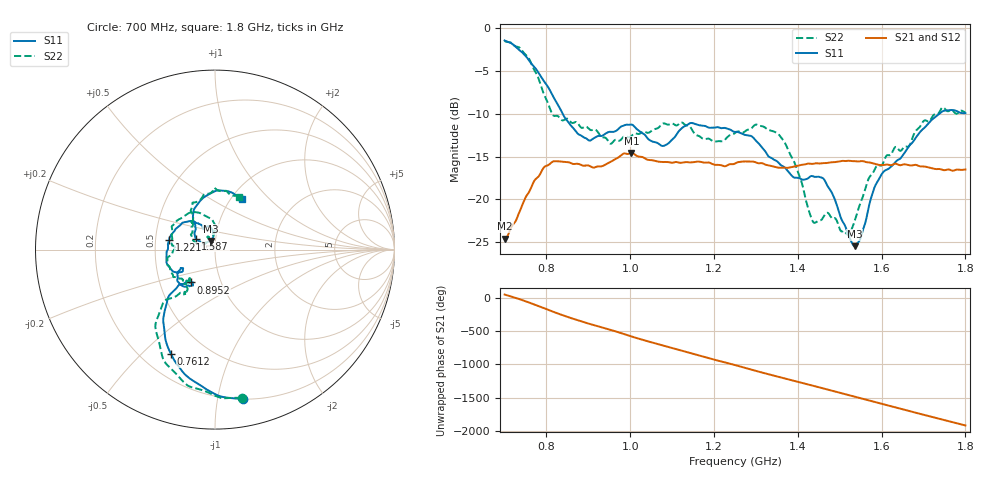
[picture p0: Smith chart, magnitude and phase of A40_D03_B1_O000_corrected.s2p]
! Created with skrf 1.9.0 (http://scikit-rf.org).
# Hz S RI R 50.0
!freq ReS11 ImS11 ReS21 ImS21 ReS12 ImS12 ReS22 ImS22
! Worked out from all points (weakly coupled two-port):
!   1601 points, 700 MHz to 1.8 GHz, reference 50 ohm
!   highest |S21| = -14.58 dB at 1.002 GHz (marker M1); lowest = -24.6 dB at 701.4 MHz (marker M2)
!   lowest |S11| = -25.5 dB at 1.535 GHz (marker M3), VSWR 1.11, Z = 47.6 + j4.61 ohm
!   |S11| at or under -10 dB: 838.6 MHz to 1.737 GHz (898.8 MHz wide, 69.8 % of centre)
!   |S22| runs from -24.2 to -1.5 dB; largest |S21 - S12| = 0.0035
!   S11 on the Smith chart (normalised r, x): 700 MHz: 0.20, -1.19; 761.2 MHz: 0.32, -0.62; 895.2 MHz: 0.72, -0.28; 1.221 GHz: 0.59, +0.07; 1.587 GHz: 0.80, +0.10; 1.8 GHz: 1.13, +0.70
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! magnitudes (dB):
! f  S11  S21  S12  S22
! 700 MHz  -1.4  -24.6  -24.3  -1.5
! 701.4 MHz  -1.5  -24.6  -24.2  -1.5
! 761.2 MHz  -4.0  -18.9  -18.8  -3.8
! 814.8 MHz  -7.9  -15.6  -15.7  -10.1
! 883.6 MHz  -12.6  -16.0  -15.9  -11.6
! 895.2 MHz  -12.9  -16.0  -16.1  -11.5
! 953 MHz  -12.1  -15.6  -15.6  -13.5
! 1.002 GHz  -11.2  -14.6  -14.7  -12.6
! 1.067 GHz  -13.5  -15.6  -15.5  -11.6
! 1.143 GHz  -11.1  -15.7  -15.7  -11.6
! 1.221 GHz  -11.7  -16.1  -16.1  -13.2
! 1.25 GHz  -12.1  -15.8  -15.7  -12.2
! 1.357 GHz  -15.9  -16.3  -16.3  -12.6
! 1.396 GHz  -17.5  -16.1  -16.1  -16.2
! 1.434 GHz  -17.3  -15.8  -15.8  -22.4
! 1.465 GHz  -17.9  -15.8  -15.7  -21.7
! 1.519 GHz  -23.9  -15.5  -15.5  -24.1
! 1.535 GHz  -25.5  -15.5  -15.5  -22.6
! 1.587 GHz  -18.2  -15.9  -15.9  -16.2
! 1.617 GHz  -16.4  -16.0  -15.9  -14.8
! 1.741 GHz  -9.9  -16.5  -16.5  -9.5
! 1.8 GHz  -9.9  -16.5  -16.5  -9.9
